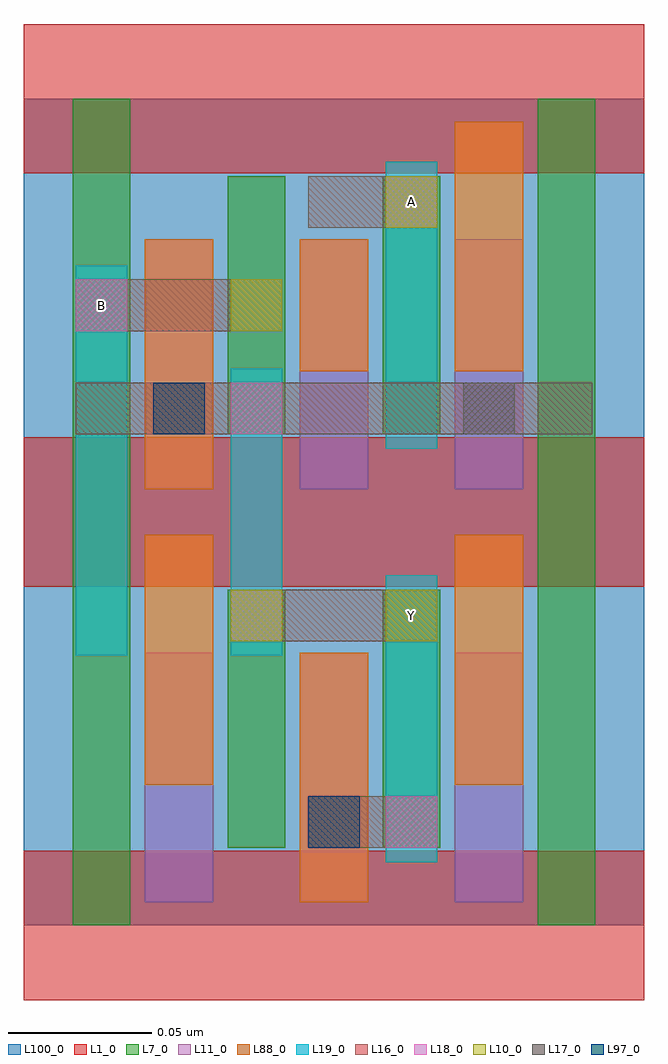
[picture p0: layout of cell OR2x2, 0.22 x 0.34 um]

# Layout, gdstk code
import gdstk
lib = gdstk.Library(unit=1e-6, precision=2.5e-10)
def R(c, l, rs):  # rectangles x0, y0, x1, y1
    for r in rs: c.add(gdstk.rectangle(r[:2], r[2:], *l))
def A(c, l, x, y, w, h, nx, ny, dx, dy):  # array of equal rectangles
    R(c, l, [(x+i*dx, y+j*dy, x+i*dx+w, y+j*dy+h) for i in range(nx) for j in range(ny)])
L1_0 = (1, 0)
L7_0 = (7, 0)
L10_0 = (10, 0)
L11_0 = (11, 0)
L16_0 = (16, 0)
L17_0 = (17, 0)
L18_0 = (18, 0)
L19_0 = (19, 0)
L88_0 = (88, 0)
L97_0 = (97, 0)
L100_0 = (100, 0)

or2x2 = lib.new_cell('OR2x2')
A(or2x2, L1_0, 0, -0.026, 0.216, 0.052, 1, 3, 0, 0.144)
R(or2x2, L7_0, [(0.017,0,0.037,0.144), (0.179,0,0.199,0.144), (0.071,0.027,0.091,0.117), (0.125,0.027,0.145,0.117), (0.017,0.144,0.037,0.288), (0.179,0.144,0.199,0.288), (0.071,0.171,0.091,0.261), (0.125,0.171,0.145,0.261)])
R(or2x2, L10_0, [(0.072,0.099,0.09,0.117), (0.126,0.099,0.144,0.117), (0.072,0.207,0.09,0.225), (0.126,0.243,0.144,0.261)])
A(or2x2, L11_0, 0.042, 0.008, 0.024, 0.087, 3, 2, 0.054, 0.144)
R(or2x2, L16_0, [(0.099,0.027,0.144,0.045), (0.072,0.099,0.144,0.117), (0.018,0.171,0.198,0.189), (0.018,0.207,0.09,0.225), (0.099,0.243,0.144,0.261)])
R(or2x2, L17_0, [(0.099,0.027,0.117,0.045), (0.045,0.171,0.063,0.189), (0.153,0.171,0.171,0.189)])
R(or2x2, L18_0, [(0.126,0.027,0.144,0.045), (0.072,0.099,0.09,0.117), (0.072,0.171,0.09,0.189), (0.018,0.207,0.036,0.225), (0.126,0.243,0.144,0.261)])
R(or2x2, L19_0, [(0.126,0.022,0.144,0.122), (0.018,0.094,0.036,0.23), (0.072,0.094,0.09,0.194), (0.126,0.166,0.144,0.266)])
R(or2x2, L88_0, [(0.096,0.008,0.12,0.095), (0.042,0.049,0.066,0.136), (0.15,0.049,0.174,0.136), (0.042,0.152,0.066,0.239), (0.096,0.193,0.12,0.239), (0.15,0.193,0.174,0.28)])
R(or2x2, L97_0, [(0.099,0.027,0.117,0.045), (0.045,0.171,0.063,0.189)])
R(or2x2, L100_0, [(0,0,0.216,0.288)])
or2x2.add(gdstk.Label('A', (0.135,0.252), layer=19, texttype=251))
or2x2.add(gdstk.Label('B', (0.027,0.216), layer=19, texttype=251))
or2x2.add(gdstk.Label('Y', (0.135,0.108), layer=19, texttype=251))

lib.write_gds('OR2x2.gds')
